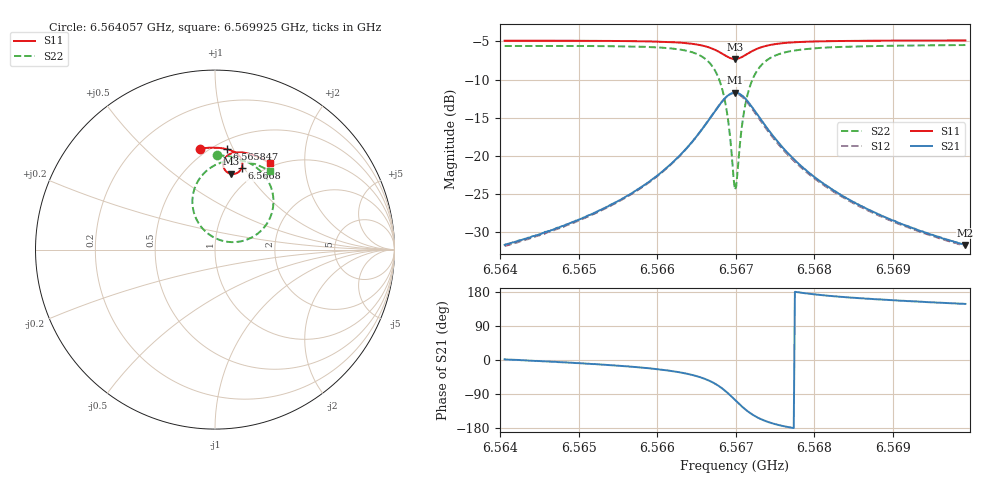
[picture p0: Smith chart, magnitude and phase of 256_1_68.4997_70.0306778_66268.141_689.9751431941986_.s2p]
#  HZ  S  RI  R  50.00
! Rohde & Schwarz Vector Network Analyzer
! Rohde-Schwarz,ZNB20-2Port,1311601062101988,3.16
! Created: UTC 3/20/2024, 5:00:03 PM
! freq[Hz]  re:S11  im:S11  re:S21  im:S21  re:S12  im:S12  re:S22  im:S22
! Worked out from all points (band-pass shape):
!   401 points, 6.564057 GHz to 6.569925 GHz, reference 50 ohm
!   highest |S21| = -11.71 dB at 6.566991 GHz (marker M1); lowest = -31.7 dB at 6.569925 GHz (marker M2)
!   |S21| within 3 dB of the highest: 6.566697 GHz to 6.567284 GHz (587.2 kHz wide, 0.00894 % of centre)
!   lowest |S11| = -7.3 dB at 6.566991 GHz (marker M3), VSWR 2.52, Z = 40.3 + j41.8 ohm
!   |S11| at or under -10 dB: nowhere
!   |S22| runs from -24.5 to -5.5 dB; largest |S21 - S12| = 0.012
!   S11 on the Smith chart (normalised r, x): 6.564057 GHz: 0.45, +0.75; 6.565847 GHz: 0.58, +0.94; 6.5668 GHz: 0.83, +0.97; 6.569925 GHz: 0.94, +1.35
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6.5640572e9  -0.0857 0.5626  0.026 0.000822  0.0255 0.000291  0.0128 0.5248
6.56504e9  -0.00636 0.5679  0.0382 -0.00598  0.0375 -0.00656  0.1024 0.5148
6.5658468e9  0.0659 0.5594  0.0605 -0.0232  0.0595 -0.0238  0.1979 0.479
6.5660229e9  0.0836 0.5544  0.0685 -0.0317  0.0675 -0.0324  0.225 0.4616
6.5663456e9  0.1191 0.5366  0.0885 -0.0616  0.087 -0.0627  0.2832 0.4025
6.5665656e9  0.1437 0.51  0.1013 -0.1075  0.0991 -0.1095  0.3213 0.3137
6.5666977e9  0.1527 0.4821  0.0972 -0.1562  0.0933 -0.159  0.3208 0.2209
6.5668003e9  0.1478 0.4532  0.0714 -0.2058  0.065 -0.2087  0.2767 0.1274
6.5668884e9  0.1278 0.4297  0.0202 -0.2443  0.0108 -0.2448  0.1839 0.058
6.5669177e9  0.1175 0.4245  -0.00313 -0.2518  -0.0134 -0.2511  0.1418 0.0455
6.5669617e9  0.0999 0.421  -0.0422 -0.255  -0.0527 -0.2514  0.0728 0.043
6.566991e9  0.0876 0.4222  -0.0686 -0.2504  -0.0788 -0.2451  0.0268 0.0535
6.5670204e9  0.0759 0.4262  -0.0934 -0.2409  -0.1029 -0.2337  -0.0158 0.0733
6.5670791e9  0.0574 0.4409  -0.134 -0.2094  -0.1406 -0.1999  -0.0818 0.1331
6.5671231e9  0.0491 0.4554  -0.1537 -0.1802  -0.1576 -0.17  -0.1112 0.1867
6.5671818e9  0.0453 0.4753  -0.166 -0.1409  -0.1673 -0.1313  -0.1256 0.2565
6.5672551e9  0.0494 0.4966  -0.1658 -0.0988  -0.1648 -0.0907  -0.1173 0.3291
6.5675192e9  0.0885 0.5348  -0.1243 -0.0215  -0.1217 -0.0182  -0.0225 0.4575
6.5679739e9  0.147 0.5422  -0.074 0.00792  -0.0722 0.00898  0.0969 0.4964
6.568458e9  0.1938 0.5333  -0.0492 0.0135  -0.0482 0.0139  0.1715 0.4912
6.5689568e9  0.2348 0.5188  -0.0356 0.0143  -0.0348 0.0145  0.2261 0.4756
6.569925e9  0.3046 0.483  -0.022 0.0137  -0.0214 0.0137  0.3064 0.436
